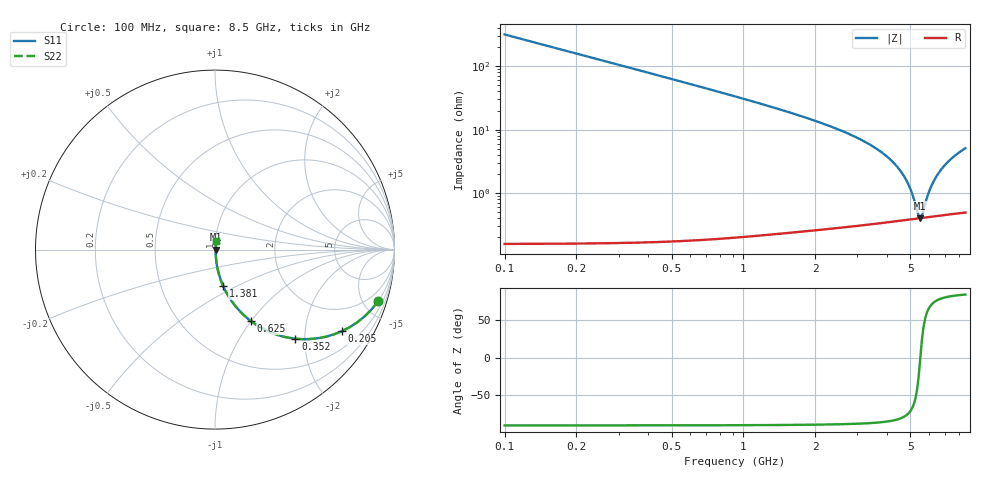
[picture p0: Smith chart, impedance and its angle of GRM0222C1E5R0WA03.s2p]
!Murata Part Number: GRM0222C1E5R0WA03
!These Parameters are Measured in Series Mode Connection
!Data Generated on Mar 30, 2021
!  o--ll--o
!Port1  Port2
!  o------o
!Operation Temp=25[degC], DC Bias Voltage=0[V]
!Freq. Start=100[MHz] Stop=9[GHz] 401[Steps]
# Hz S RI R 50
!Freq.(Hz) S11(Real) S11(Imag) S21(Real) S21(Imag) S12(Real) S12(Imag) S22(Real) S22(Imag)
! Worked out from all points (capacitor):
!   401 points, 100 MHz to 8.5 GHz, reference 50 ohm
!   read as one part in series: C = 5 pF near 142 MHz
!   lowest |Z| = 400 mohm at 5.497 GHz (marker M1)
!   series resonance near 5.502 GHz, so ESL is about 170 pH
!   S11 on the Smith chart (normalised r, x): 100 MHz: 1.00, -6.36; 205 MHz: 1.00, -3.10; 352 MHz: 1.00, -1.80; 625 MHz: 1.00, -1.00; 1.381 GHz: 1.00, -0.43; 8.5 GHz: 1.01, +0.10
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1e8  0.91 -0.2859  0.09 0.2859  0.09 0.2859  0.91 -0.2859
2.05e8  0.706 -0.4551  0.294 0.4551  0.294 0.4551  0.706 -0.4551
3.52e8  0.4478 -0.4964  0.5522 0.4964  0.5522 0.4964  0.4478 -0.4964
4.78e8  0.3042 -0.4588  0.6958 0.4588  0.6958 0.4588  0.3042 -0.4588
6.25e8  0.2023 -0.3999  0.7977 0.3999  0.7977 0.3999  0.2023 -0.3999
9.19e8  0.1029 -0.3009  0.8971 0.3009  0.8971 0.3009  0.1029 -0.3009
1.381e9  0.0462 -0.2049  0.9538 0.2049  0.9538 0.2049  0.0462 -0.2049
1.507e9  0.0386 -0.1867  0.9614 0.1867  0.9614 0.1867  0.0386 -0.1867
2.914e9  0.00896 -0.077  0.991 0.077  0.991 0.077  0.00896 -0.077
3.733e9  0.00535 -0.0451  0.9946 0.0451  0.9946 0.0451  0.00535 -0.0451
4.3e9  0.00433 -0.0282  0.9957 0.0282  0.9957 0.0282  0.00433 -0.0282
4.909e9  0.00393 -0.0129  0.9961 0.0129  0.9961 0.0129  0.00393 -0.0129
5.119e9  0.00391 -0.00818  0.9961 0.00818  0.9961 0.00818  0.00391 -0.00818
5.392e9  0.00395 -0.00229  0.9961 0.00229  0.9961 0.00229  0.00395 -0.00229
5.497e9  0.00398 -0.000111  0.996 0.000111  0.996 0.000111  0.00398 -0.000111
5.581e9  0.00401 0.0016  0.996 -0.0016  0.996 -0.0016  0.00401 0.0016
5.707e9  0.00407 0.00412  0.9959 -0.00412  0.9959 -0.00412  0.00407 0.00412
5.959e9  0.00422 0.009  0.9958 -0.009  0.9958 -0.009  0.00422 0.009
6.253e9  0.00445 0.0144  0.9956 -0.0144  0.9956 -0.0144  0.00445 0.0144
6.631e9  0.00481 0.0211  0.9952 -0.0211  0.9952 -0.0211  0.00481 0.0211
7.114e9  0.00536 0.0292  0.9946 -0.0292  0.9946 -0.0292  0.00536 0.0292
8.5e9  0.0074 0.0501  0.9926 -0.0501  0.9926 -0.0501  0.0074 0.0501
